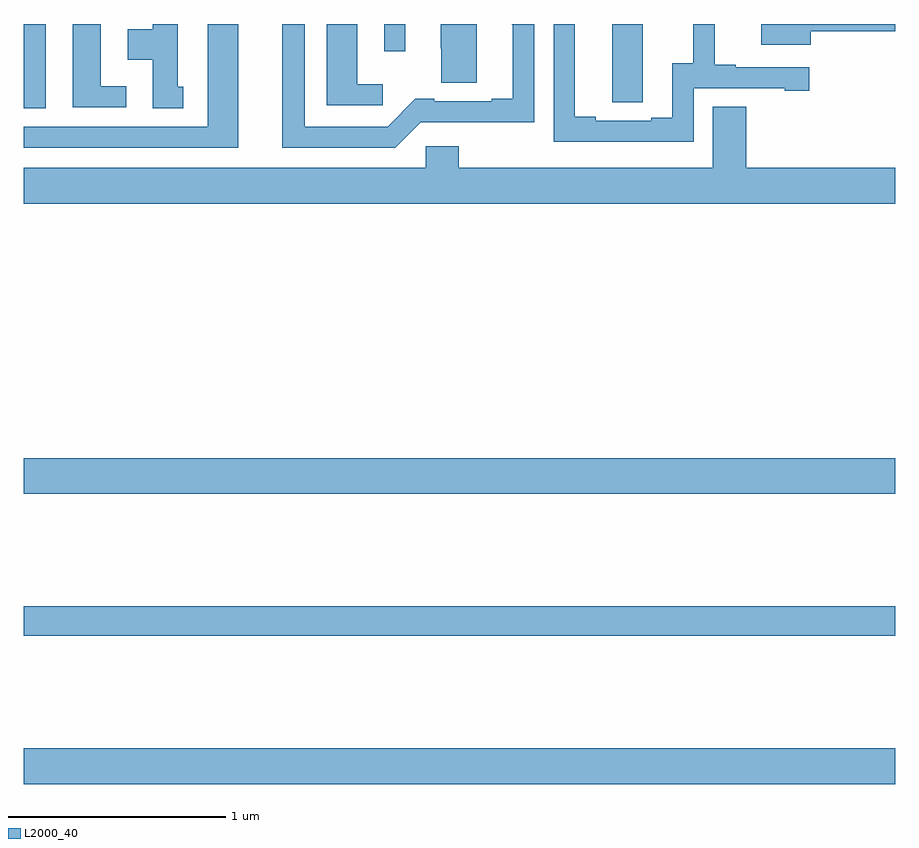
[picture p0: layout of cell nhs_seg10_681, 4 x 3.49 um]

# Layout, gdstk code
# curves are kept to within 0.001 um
import gdstk
lib = gdstk.Library(unit=1e-6, precision=1e-09)
def R(c, l, rs):  # rectangles x0, y0, x1, y1
    for r in rs: c.add(gdstk.rectangle(r[:2], r[2:], *l))
def P(c, l, *ps):  # polygons
    for p in ps: c.add(gdstk.Polygon(p, *l))
L2000_40 = (2000, 40)

nhs_seg10_681 = lib.new_cell('nhs_seg10_681')
R(nhs_seg10_681, L2000_40, [(145,1271.012,149,1271.176), (145,1271.692,149,1271.828), (145,1272.344,149,1272.508), (145,1274.113,145.102,1274.5), (146.655,1274.376,146.752,1274.5)])
P(nhs_seg10_681, L2000_40, [(148.612,1274.467),(149,1274.467),(149,1274.5),(148.385,1274.5),(148.385,1274.405),(148.612,1274.405)],
  [(146.647,1274.224),(146.53,1274.224),(146.53,1274.5),(146.39,1274.5),(146.39,1274.127),(146.647,1274.127)],
  [(145.984,1274.5),(145.844,1274.5),(145.844,1274.028),(145,1274.028),(145,1273.932),(145.984,1273.932)],
  [(145.471,1274.214),(145.354,1274.214),(145.354,1274.5),(145.226,1274.5),(145.226,1274.118),(145.471,1274.118)],
  [(147.84,1274.248),(147.841,1274.248),(147.841,1274.5),(147.701,1274.5),(147.701,1274.14),(147.84,1274.14)],
  [(148.074,1274.205),(148.493,1274.205),(148.493,1274.193),(148.606,1274.193),(148.606,1274.301),(148.267,1274.301),(148.267,1274.314),(148.172,1274.314),(148.172,1274.5),(148.072,1274.5),(148.072,1274.321),(147.977,1274.321),(147.977,1274.07),(147.881,1274.07),(147.881,1274.055),(147.625,1274.055),(147.625,1274.075),(147.529,1274.075),(147.529,1274.5),(147.432,1274.5),(147.432,1273.959),(148.074,1273.959)],
  [(147.079,1274.5),(146.915,1274.5),(146.915,1274.388),(146.917,1274.388),(146.917,1274.23),(147.079,1274.23)],
  [(146.823,1274.049),(147.342,1274.048),(147.342,1274.5),(147.239,1274.5),(147.245,1274.494),(147.245,1274.158),(147.149,1274.158),(147.149,1274.145),(146.884,1274.145),(146.884,1274.156),(146.798,1274.156),(146.67,1274.028),(146.29,1274.028),(146.29,1274.5),(146.186,1274.5),(146.186,1273.932),(146.706,1273.932)],
  [(145.732,1274.211),(145.708,1274.211),(145.708,1274.5),(145.592,1274.5),(145.592,1274.476),(145.478,1274.476),(145.478,1274.336),(145.592,1274.336),(145.592,1274.113),(145.732,1274.113)],
  [(149,1273.84),(148.316,1273.84),(148.316,1274.12),(148.163,1274.12),(148.163,1273.84),(146.996,1273.84),(146.996,1273.938),(146.844,1273.938),(146.844,1273.84),(145,1273.84),(145,1273.676),(149,1273.676)])

lib.write_gds('nhs_seg10_681.gds')
